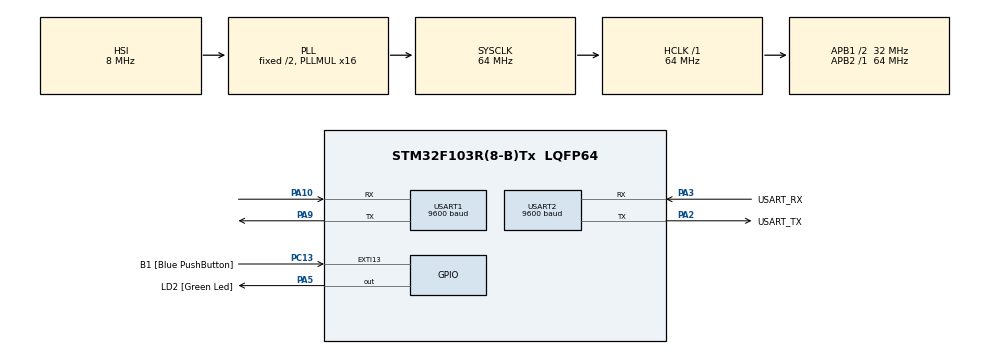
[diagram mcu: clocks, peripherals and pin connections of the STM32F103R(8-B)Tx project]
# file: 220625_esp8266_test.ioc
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Mcu.Family=STM32F1
Mcu.Name=STM32F103R(8-B)Tx
Mcu.Package=LQFP64
NVIC.EXTI15_10_IRQn=true\:0\:0\:false\:false\:true\:true\:true\:true
NVIC.PriorityGroup=NVIC_PRIORITYGROUP_4
NVIC.USART1_IRQn=true\:0\:0\:false\:false\:true\:true\:true\:true
NVIC.USART2_IRQn=true\:0\:0\:false\:false\:true\:true\:true\:true
PA10.Mode=Asynchronous
PA10.Signal=USART1_RX
PA13.GPIO_Label=TMS
PA13.Mode=Serial_Wire
PA13.Signal=SYS_JTMS-SWDIO
PA14.GPIO_Label=TCK
PA14.Mode=Serial_Wire
PA14.Signal=SYS_JTCK-SWCLK
PA2.GPIO_Label=USART_TX
PA2.GPIO_Mode=GPIO_MODE_AF_PP
PA2.GPIO_PuPd=GPIO_NOPULL
PA2.GPIO_Speed=GPIO_SPEED_FREQ_LOW
PA2.Mode=Asynchronous
PA2.Signal=USART2_TX
PA3.GPIO_Label=USART_RX
PA3.GPIO_Mode=GPIO_MODE_AF_PP
PA3.GPIO_PuPd=GPIO_NOPULL
PA3.GPIO_Speed=GPIO_SPEED_FREQ_LOW
PA3.Mode=Asynchronous
PA3.Signal=USART2_RX
PA5.GPIO_Label=LD2 [Green Led]
PA5.GPIO_ModeDefaultOutputPP=GPIO_MODE_OUTPUT_PP
PA5.GPIO_PuPd=GPIO_NOPULL
PA5.GPIO_Speed=GPIO_SPEED_FREQ_LOW
PA5.Signal=GPIO_Output
PA9.Mode=Asynchronous
PA9.Signal=USART1_TX
PB3.GPIO_Label=SWO
PB3.Signal=SYS_JTDO-TRACESWO
PC13-TAMPER-RTC.GPIO_Label=B1 [Blue PushButton]
PC13-TAMPER-RTC.GPIO_PuPd=GPIO_NOPULL
PC13-TAMPER-RTC.Signal=GPXTI13
PC14-OSC32_IN.Mode=LSE-External-Oscillator
PC14-OSC32_IN.Signal=RCC_OSC32_IN
PC15-OSC32_OUT.Mode=LSE-External-Oscillator
PC15-OSC32_OUT.Signal=RCC_OSC32_OUT
PD0-OSC_IN.Mode=HSE-External-Clock-Source
PD0-OSC_IN.Signal=RCC_OSC_IN
PD1-OSC_OUT.Mode=HSE-External-Clock-Source
PD1-OSC_OUT.Signal=RCC_OSC_OUT
ProjectManager.HeapSize=0x200
ProjectManager.StackSize=0x400
ProjectManager.TargetToolchain=STM32CubeIDE
RCC.AHBFreq_Value=64000000
RCC.APB1CLKDivider=RCC_HCLK_DIV2
RCC.APB1Freq_Value=32000000
RCC.APB1TimFreq_Value=64000000
RCC.APB2Freq_Value=64000000
RCC.APB2TimFreq_Value=64000000
RCC.HCLKFreq_Value=64000000
RCC.PLLMUL=RCC_PLL_MUL16
RCC.RTCClockSelection=RCC_RTCCLKSOURCE_LSE
RCC.SYSCLKFreq_VALUE=64000000
RCC.SYSCLKSource=RCC_SYSCLKSOURCE_PLLCLK
RCC.USBFreq_Value=64000000
USART1.BaudRate=9600
USART1.VirtualMode=VM_ASYNC
USART2.BaudRate=9600
USART2.VirtualMode=VM_ASYNC
board=NUCLEO-F103RB

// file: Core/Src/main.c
/* USER CODE BEGIN Header */
/**
  ******************************************************************************
  * @file           : main.c
  * @brief          : Main program body
  ******************************************************************************
  * @attention
  *
  * Copyright (c) 2022 STMicroelectronics.
  * All rights reserved.
  *
  * This software is licensed under terms that can be found in the LICENSE file
  * in the root directory of this software component.
  * If no LICENSE file comes with this software, it is provided AS-IS.
  *
  ******************************************************************************
  */
/* USER CODE END Header */
#include "main.h"

/* USER CODE BEGIN Includes */
#include "stdio.h"
#include "ESPDataLogger.h"
/* USER CODE END Includes */

 UART_HandleTypeDef huart1;
UART_HandleTypeDef huart2;

/* USER CODE BEGIN PV */
#define RxBufferSize 0xFF
uint8_t RxBuffer[RxBufferSize];
/* USER CODE END PV */

void SystemClock_Config(void);
static void MX_GPIO_Init(void);
static void MX_USART1_UART_Init(void);
static void MX_USART2_UART_Init(void);
/* USER CODE BEGIN PFP */
#ifdef __GNUC__
/* With GCC, small printf (option LD Linker->Libraries->Small printf
   set to 'Yes') calls __io_putchar() */
#define PUTCHAR_PROTOTYPE int __io_putchar(int ch)
#else
#define PUTCHAR_PROTOTYPE int fputc(int ch, FILE *f)
#endif /* __GNUC__ */
PUTCHAR_PROTOTYPE
{
  /* Place your implementation of fputc here */
  /* e.g. write a character to the USART1 and Loop until the end of transmission */
  HAL_UART_Transmit(&huart2, (uint8_t *)&ch, 1, 0xFFFF);

  return ch;
}
/* USER CODE END PFP */

int main(void)
{

  /* MCU Configuration--------------------------------------------------------*/

  /* Reset of all peripherals, Initializes the Flash interface and the Systick. */
  HAL_Init();

  /* Configure the system clock */
  SystemClock_Config();

  /* Initialize all configured peripherals */
  MX_GPIO_Init();
  MX_USART1_UART_Init();
  MX_USART2_UART_Init();
  /* USER CODE BEGIN 2 */
  HAL_UART_Receive_IT(&huart1, RxBuffer, 10);
  printf("connect wifi .... KCCI_STC_S......\n");
  ESP_Init("KCCI_STC_S", "kcci098#");
  printf("maybe wifi connect done!\n");
  /* USER CODE END 2 */

  /* Infinite loop */
  while (1)
  {

    /* USER CODE BEGIN 3 */
	  printf("start check!\n");
	  ESP_Send_Data("77c19M0JJMDFSS5A", 0, 120);
//	  ESP_Send_Multi("77c19M0JJMDFSS5A", 1, 10);
	  printf("send done!\n");

	  HAL_Delay(5000);
  }
  /* USER CODE END 3 */
}

void SystemClock_Config(void)
{
  RCC_OscInitTypeDef RCC_OscInitStruct = {0};
  RCC_ClkInitTypeDef RCC_ClkInitStruct = {0};

  /** Initializes the RCC Oscillators according to the specified parameters
  * in the RCC_OscInitTypeDef structure.
  */
  RCC_OscInitStruct.OscillatorType = RCC_OSCILLATORTYPE_HSI;
  RCC_OscInitStruct.HSIState = RCC_HSI_ON;
  RCC_OscInitStruct.HSICalibrationValue = RCC_HSICALIBRATION_DEFAULT;
  RCC_OscInitStruct.PLL.PLLState = RCC_PLL_ON;
  RCC_OscInitStruct.PLL.PLLSource = RCC_PLLSOURCE_HSI_DIV2;
  RCC_OscInitStruct.PLL.PLLMUL = RCC_PLL_MUL16;
  if (HAL_RCC_OscConfig(&RCC_OscInitStruct) != HAL_OK)
  {
    Error_Handler();
  }

  /** Initializes the CPU, AHB and APB buses clocks
  */
  RCC_ClkInitStruct.ClockType = RCC_CLOCKTYPE_HCLK|RCC_CLOCKTYPE_SYSCLK
                              |RCC_CLOCKTYPE_PCLK1|RCC_CLOCKTYPE_PCLK2;
  RCC_ClkInitStruct.SYSCLKSource = RCC_SYSCLKSOURCE_PLLCLK;
  RCC_ClkInitStruct.AHBCLKDivider = RCC_SYSCLK_DIV1;
  RCC_ClkInitStruct.APB1CLKDivider = RCC_HCLK_DIV2;
  RCC_ClkInitStruct.APB2CLKDivider = RCC_HCLK_DIV1;

  if (HAL_RCC_ClockConfig(&RCC_ClkInitStruct, FLASH_LATENCY_2) != HAL_OK)
  {
    Error_Handler();
  }
}

static void MX_USART1_UART_Init(void)
{

  huart1.Instance = USART1;
  huart1.Init.BaudRate = 9600;
  huart1.Init.WordLength = UART_WORDLENGTH_8B;
  huart1.Init.StopBits = UART_STOPBITS_1;
  huart1.Init.Parity = UART_PARITY_NONE;
  huart1.Init.Mode = UART_MODE_TX_RX;
  huart1.Init.HwFlowCtl = UART_HWCONTROL_NONE;
  huart1.Init.OverSampling = UART_OVERSAMPLING_16;
  if (HAL_UART_Init(&huart1) != HAL_OK)
  {
    Error_Handler();
  }

}

static void MX_USART2_UART_Init(void)
{

  huart2.Instance = USART2;
  huart2.Init.BaudRate = 9600;
  huart2.Init.WordLength = UART_WORDLENGTH_8B;
  huart2.Init.StopBits = UART_STOPBITS_1;
  huart2.Init.Parity = UART_PARITY_NONE;
  huart2.Init.Mode = UART_MODE_TX_RX;
  huart2.Init.HwFlowCtl = UART_HWCONTROL_NONE;
  huart2.Init.OverSampling = UART_OVERSAMPLING_16;
  if (HAL_UART_Init(&huart2) != HAL_OK)
  {
    Error_Handler();
  }

}

static void MX_GPIO_Init(void)
{
  GPIO_InitTypeDef GPIO_InitStruct = {0};

  /* GPIO Ports Clock Enable */
  __HAL_RCC_GPIOC_CLK_ENABLE();
  __HAL_RCC_GPIOD_CLK_ENABLE();
  __HAL_RCC_GPIOA_CLK_ENABLE();
  __HAL_RCC_GPIOB_CLK_ENABLE();

  /*Configure GPIO pin Output Level */
  HAL_GPIO_WritePin(LD2_GPIO_Port, LD2_Pin, GPIO_PIN_RESET);

  /*Configure GPIO pin : B1_Pin */
  GPIO_InitStruct.Pin = B1_Pin;
  GPIO_InitStruct.Mode = GPIO_MODE_IT_RISING;
  GPIO_InitStruct.Pull = GPIO_NOPULL;
  HAL_GPIO_Init(B1_GPIO_Port, &GPIO_InitStruct);

  /*Configure GPIO pin : LD2_Pin */
  GPIO_InitStruct.Pin = LD2_Pin;
  GPIO_InitStruct.Mode = GPIO_MODE_OUTPUT_PP;
  GPIO_InitStruct.Pull = GPIO_NOPULL;
  GPIO_InitStruct.Speed = GPIO_SPEED_FREQ_LOW;
  HAL_GPIO_Init(LD2_GPIO_Port, &GPIO_InitStruct);

  /* EXTI interrupt init*/
  HAL_NVIC_SetPriority(EXTI15_10_IRQn, 0, 0);
  HAL_NVIC_EnableIRQ(EXTI15_10_IRQn);

}

/* USER CODE BEGIN 4 */
void HAL_UART_RxCpltCallback(UART_HandleTypeDef *huart) {
	char c = Uart_read();
	printf("holy!!\n");
	if(c != '-1'){
		printf("%c",c);
	}else{
		printf("\n");
	}

}

/* USER CODE END 4 */

void Error_Handler(void)
{
  __disable_irq();
  while (1)
  {
  }
}
